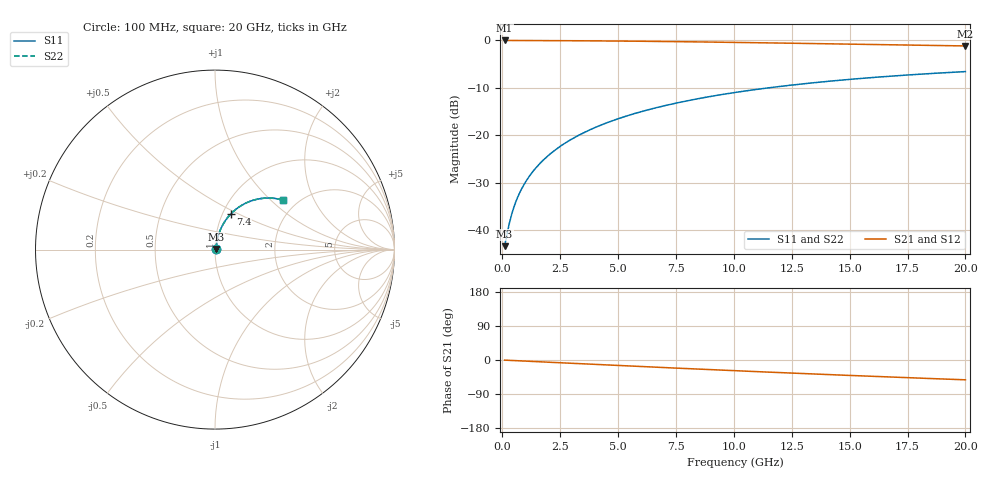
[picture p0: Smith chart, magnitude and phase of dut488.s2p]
! Touchstone file exported from HFSS 2026.1.0
!  File:  C:/ffzhzh/LocalFiles/Ansys_Project_Files/temp_train_BSMRDL_488_1783013968_46388.aedt
!  Generated:  01:40:55 AM Jul  3, 2026
!  Design:  BSMRDL
!  Project:  temp_train_BSMRDL_488_1783013968_46388
! Variables:
!  h_bsmrdl = 2.43um
!  h_ox = 20um
!  h_rdl = 5um
!  h_sub = 80um
!  h_tmrdl = 5um
!  h_tsv = 80um
!  h_via = 3um
!  l_bsmrdl = 784.25um
!  l_sub = 1184.25um
!  l_tmrdl = 200um
!  m_sub = 200um
!  pitch = 45.15um
!  r_tsv = 6um
!  s_tmrdl = 10um
!  w_bsmrdl = 19.83um
!  w_sub = 500um
!  w_tmrdl = 12um
!  x_tsv_center1 = 206um
!  x_tsv_center2 = 1010.08um
!  x_tsv_center3 = 1222.08um
!  x_tsv_center4 = 2026.16um
!  x_tsv_center5 = 2238.16um
!  x_tsv_center6 = 3042.24um
# GHz S MA R 50.000000
! Terminal data exported
! Port[1] = BSM_RDL1_1_T1
! Port[2] = BSM_RDL1_1_T2
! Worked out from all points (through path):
!   200 points, 100 MHz to 20 GHz, reference 50 ohm
!   highest |S21| = -0.05 dB at 100 MHz (marker M1); lowest = -1.2 dB at 20 GHz (marker M2)
!   group delay of S21, straight-line fit = 7.28 ps
!   lowest |S11| = -43.3 dB at 100 MHz (marker M3), VSWR 1.01, Z = 50.6 + j0.336 ohm
!   |S11| at or under -10 dB: start of sweep to 11.53 GHz
!   |S22| runs from -43.3 to -6.6 dB; largest |S21 - S12| = 3.8e-15
!   S11 on the Smith chart (normalised r, x): 100 MHz: 1.01, +0.01; 7.4 GHz: 1.09, +0.45; 20 GHz: 1.69, +1.19
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0.1  0.00681 29.2  0.9941 -0.3  0.9941 -0.3  0.00681 29.2
! Gamma 0 0 0 0
! Port Impedance 50 0 50 0
0.3  0.01171 56.8  0.9937 -0.9  0.9937 -0.9  0.01171 56.8
0.4  0.01458 62.5  0.9934 -1.2  0.9934 -1.2  0.01458 62.5
0.5  0.01749 66.1  0.9932 -1.5  0.9932 -1.5  0.01749 66.1
0.6  0.02041 68.6  0.993 -1.8  0.993 -1.8  0.02041 68.6
0.8  0.02625 71.8  0.9925 -2.4  0.9925 -2.4  0.02625 71.8
1.1  0.03504 74.5  0.992 -3.2  0.992 -3.2  0.03504 74.5
1.3  0.04091 75.5  0.9916 -3.8  0.9916 -3.8  0.04091 75.5
1.6  0.04976 76.4  0.9911 -4.7  0.9911 -4.7  0.04976 76.4
2.1  0.06456 76.9  0.9901 -6.1  0.9901 -6.1  0.06456 76.9
2.7  0.08231 76.5  0.9886 -7.9  0.9886 -7.9  0.08231 76.5
3.5  0.1058 75.4  0.9861 -10.1  0.9861 -10.1  0.1058 75.3
4.2  0.1262 74.0  0.9835 -12.1  0.9835 -12.1  0.1262 74.0
5  0.1491 72.2  0.98 -14.4  0.98 -14.4  0.1491 72.2
5.9  0.1744 70.1  0.9755 -16.9  0.9755 -16.9  0.1744 70.0
6.8  0.1991 67.8  0.9705 -19.4  0.9705 -19.4  0.1991 67.8
7.4  0.2151 66.3  0.9668 -21.1  0.9668 -21.1  0.2151 66.3
8.7  0.2487 63.0  0.9582 -24.6  0.9582 -24.6  0.2488 63.0
10.1  0.2831 59.5  0.9482 -28.4  0.9482 -28.4  0.2831 59.4
13.4  0.356 51.3  0.9223 -36.8  0.9223 -36.8  0.356 51.2
16.7  0.4174 43.5  0.8956 -44.8  0.8956 -44.8  0.4174 43.4
20  0.4675 36.2  0.8703 -52.3  0.8703 -52.3  0.4676 36.1
